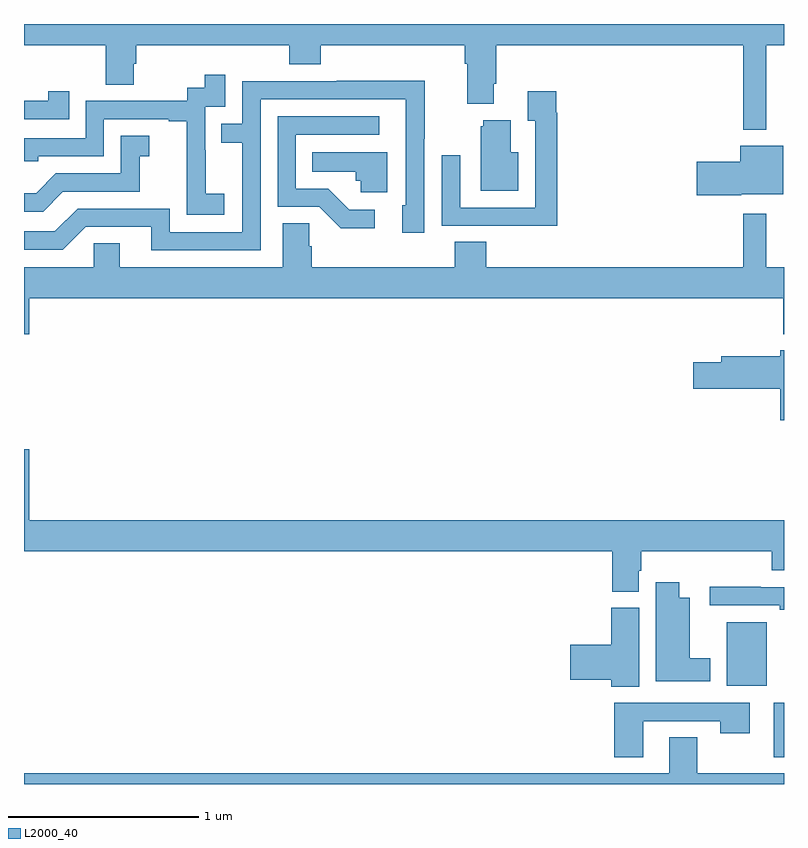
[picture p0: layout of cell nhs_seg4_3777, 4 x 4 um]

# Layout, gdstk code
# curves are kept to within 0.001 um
import gdstk
lib = gdstk.Library(unit=1e-6, precision=1e-09)
def R(c, l, rs):  # rectangles x0, y0, x1, y1
    for r in rs: c.add(gdstk.rectangle(r[:2], r[2:], *l))
def P(c, l, *ps):  # polygons
    for p in ps: c.add(gdstk.Polygon(p, *l))
L2000_40 = (2000, 40)

nhs_seg4_3777 = lib.new_cell('nhs_seg4_3777')
R(nhs_seg4_3777, L2000_40, [(312.947,825.042,313,825.328), (312.698,825.416,312.91,825.751)])
P(nhs_seg4_3777, L2000_40, [(312.907,828.788),(313,828.788),(313,828.9),(309,828.9),(309,828.788),(309.43,828.788),(309.43,828.58),(309.577,828.58),(309.577,828.69),(309.59,828.69),(309.59,828.788),(310.397,828.788),(310.397,828.689),(310.562,828.689),(310.562,828.788),(311.321,828.788),(311.321,828.692),(311.333,828.692),(311.333,828.479),(311.473,828.479),(311.473,828.586),(311.486,828.586),(311.486,828.788),(312.786,828.788),(312.786,828.344),(312.907,828.344)],
  [(310.054,828.007),(309.956,828.007),(309.956,828.236),(309.954,828.236),(309.954,828.465),(310.059,828.465),(310.059,828.634),(309.951,828.634),(309.951,828.564),(309.858,828.564),(309.858,828.495),(309.324,828.495),(309.324,828.3),(309,828.3),(309,828.177),(309.075,828.177),(309.075,828.204),(309.42,828.204),(309.42,828.399),(309.761,828.399),(309.761,828.387),(309.857,828.387),(309.857,828.103),(309.856,828.103),(309.856,827.897),(310.054,827.897)],
  [(310.245,828.504),(311.009,828.504),(311.01,827.946),(310.991,827.946),(310.991,827.802),(311.106,827.802),(311.106,828.295),(311.109,828.295),(311.109,828.602),(310.645,828.602),(310.645,828.6),(310.149,828.6),(310.149,828.375),(310.039,828.375),(310.039,828.274),(310.149,828.274),(310.149,827.805),(309.768,827.805),(309.768,827.928),(309.282,827.928),(309.162,827.808),(309,827.808),(309,827.712),(309.204,827.712),(309.324,827.832),(309.671,827.832),(309.671,827.709),(310.245,827.709)],
  [(309.239,828.547),(309.128,828.547),(309.128,828.495),(309,828.495),(309,828.399),(309.239,828.399)],
  [(311.807,828.434),(311.8,828.434),(311.8,828.547),(311.651,828.547),(311.651,828.391),(311.691,828.391),(311.691,827.934),(311.295,827.934),(311.295,828.208),(311.199,828.208),(311.199,827.838),(311.515,827.838),(311.515,827.837),(311.807,827.837)],
  [(310.846,827.922),(310.711,827.922),(310.6,828.033),(310.431,828.033),(310.431,828.318),(310.87,828.318),(310.87,828.414),(310.335,828.414),(310.335,827.937),(310.554,827.937),(310.667,827.825),(310.846,827.825)],
  [(311.602,828.226),(311.563,828.226),(311.563,828.394),(311.417,828.394),(311.417,828.363),(311.405,828.363),(311.405,828.023),(311.602,828.023)],
  [(309.205,828.018),(309.609,828.018),(309.609,828.203),(309.658,828.203),(309.658,828.313),(309.51,828.313),(309.51,828.114),(309.168,828.114),(309.064,828.01),(309,828.01),(309,827.913),(309.1,827.913)],
  [(312.774,828.005),(312.997,828.005),(312.997,828.259),(312.77,828.259),(312.77,828.176),(312.54,828.176),(312.54,827.998),(312.774,827.998)],
  [(310.912,828.226),(310.516,828.226),(310.516,828.122),(310.747,828.122),(310.747,828.075),(310.773,828.075),(310.773,828.014),(310.912,828.014)],
  [(313,827.62),(312.907,827.62),(312.907,827.902),(312.786,827.902),(312.786,827.62),(311.432,827.62),(311.432,827.753),(311.267,827.753),(311.267,827.62),(310.514,827.62),(310.514,827.729),(310.5,827.729),(310.5,827.852),(310.361,827.852),(310.361,827.62),(309.505,827.62),(309.505,827.747),(309.366,827.747),(309.366,827.62),(309,827.62),(309,827.268),(309.028,827.268),(309.028,827.456),(312.995,827.456),(312.995,827.267),(313,827.267)],
  [(313,827.182),(312.98,827.182),(312.98,827.151),(312.671,827.151),(312.671,827.121),(312.522,827.121),(312.522,826.979),(312.98,826.979),(312.98,826.815),(313,826.815)],
  [(312.235,826.023),(312.248,826.023),(312.248,826.124),(312.935,826.124),(312.935,826.025),(313,826.025),(313,826.288),(309.028,826.288),(309.028,826.663),(309,826.663),(309,826.124),(312.095,826.124),(312.095,825.913),(312.235,825.913)],
  [(312.613,825.562),(312.505,825.562),(312.505,825.88),(312.448,825.88),(312.448,825.961),(312.326,825.961),(312.326,825.44),(312.613,825.44)],
  [(313,825.936),(312.878,825.936),(312.878,825.938),(312.609,825.938),(312.609,825.84),(312.978,825.84),(312.978,825.816),(313,825.816)],
  [(312.238,825.828),(312.092,825.828),(312.092,825.632),(311.874,825.632),(311.874,825.449),(312.092,825.449),(312.092,825.412),(312.238,825.412)],
  [(312.259,825.231),(312.664,825.231),(312.664,825.168),(312.82,825.168),(312.82,825.327),(312.107,825.327),(312.107,825.042),(312.259,825.042)],
  [(313,824.956),(312.543,824.956),(312.543,825.146),(312.395,825.146),(312.395,824.956),(309,824.956),(309,824.9),(313,824.9)])

lib.write_gds('nhs_seg4_3777.gds')
